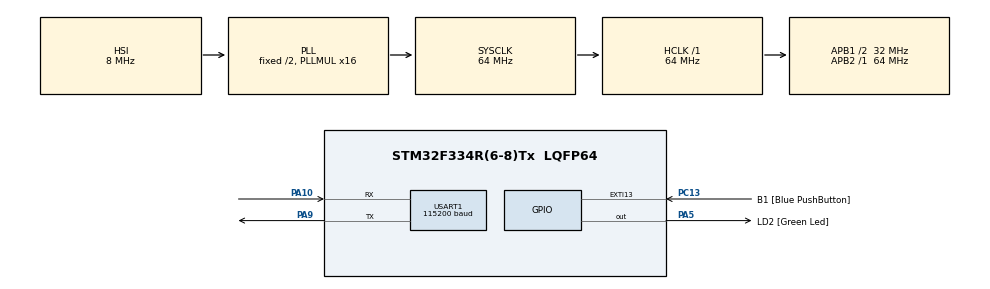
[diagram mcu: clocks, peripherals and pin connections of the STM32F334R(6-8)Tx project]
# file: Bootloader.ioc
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Mcu.Family=STM32F3
Mcu.Name=STM32F334R(6-8)Tx
Mcu.Package=LQFP64
NVIC.PriorityGroup=NVIC_PRIORITYGROUP_0
PA10.Mode=Asynchronous
PA10.Signal=USART1_RX
PA13.GPIO_Label=TMS
PA13.Mode=Serial_Wire
PA13.Signal=SYS_JTMS-SWDIO
PA14.GPIO_Label=TCK
PA14.Mode=Serial_Wire
PA14.Signal=SYS_JTCK-SWCLK
PA5.GPIO_Label=LD2 [Green Led]
PA5.Signal=GPIO_Output
PA9.Mode=Asynchronous
PA9.Signal=USART1_TX
PB3.GPIO_Label=SWO
PB3.Signal=SYS_JTDO-TRACESWO
PC13.GPIO_Label=B1 [Blue PushButton]
PC13.GPIO_ModeDefaultEXTI=GPIO_MODE_IT_FALLING
PC13.Signal=GPXTI13
PC14\ /\ OSC32_IN.Mode=LSE-External-Oscillator
PC14\ /\ OSC32_IN.Signal=RCC_OSC32_IN
PC15\ /\ OSC32_OUT.GPIO_Label=RCC_OSC32_OUT
PC15\ /\ OSC32_OUT.Mode=LSE-External-Oscillator
PC15\ /\ OSC32_OUT.Signal=RCC_OSC32_OUT
PF0\ /\ OSC_IN.Mode=HSE-External-Clock-Source
PF0\ /\ OSC_IN.Signal=RCC_OSC_IN
PF1\ /\ OSC_OUT.Signal=RCC_OSC_OUT
ProjectManager.HeapSize=0x200
ProjectManager.StackSize=0x400
ProjectManager.TargetToolchain=STM32CubeIDE
RCC.AHBFreq_Value=64000000
RCC.APB1CLKDivider=RCC_HCLK_DIV2
RCC.APB1Freq_Value=32000000
RCC.APB1TimFreq_Value=64000000
RCC.APB2Freq_Value=64000000
RCC.APB2TimFreq_Value=64000000
RCC.CortexFreq_Value=64000000
RCC.FLatency-AdvancedSettings=FLASH_LATENCY_2
RCC.HCLKFreq_Value=64000000
RCC.HSE_VALUE=8000000
RCC.HSI_VALUE=8000000
RCC.PLLMUL=RCC_PLL_MUL16
RCC.SYSCLKFreq_VALUE=64000000
RCC.SYSCLKSourceVirtual=RCC_SYSCLKSOURCE_PLLCLK
USART1.BaudRate=115200
USART1.VirtualMode-Asynchronous=VM_ASYNC
board=NUCLEO-F334R8

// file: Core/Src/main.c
/* USER CODE BEGIN Header */
/**
  ******************************************************************************
  * @file           : main.c
  * @brief          : Main program body
  ******************************************************************************
  * @attention
  *
  * Copyright (c) 2024 STMicroelectronics.
  * All rights reserved.
  *
  * This software is licensed under terms that can be found in the LICENSE file
  * in the root directory of this software component.
  * If no LICENSE file comes with this software, it is provided AS-IS.
  *
  ******************************************************************************
  */
/* USER CODE END Header */
#include "main.h"
#include "usart.h"
#include "gpio.h"

/* USER CODE BEGIN Includes */
#include <stdio.h>
#include <string.h>
/* USER CODE END Includes */

/* USER CODE BEGIN PM */
#define MAJOR 1
#define MINOR 0
/* USER CODE END PM */

/* USER CODE BEGIN PV */
uint8_t BL_Version[2] = { MAJOR, MINOR };
/* USER CODE END PV */

void SystemClock_Config(void);
/* USER CODE BEGIN PFP */
static void goto_application( void );
/* USER CODE END PFP */

int main(void)
{

  /* MCU Configuration--------------------------------------------------------*/

  /* Reset of all peripherals, Initializes the Flash interface and the Systick. */
  HAL_Init();

  /* Configure the system clock */
  SystemClock_Config();

  /* Initialize all configured peripherals */
  MX_GPIO_Init();
  MX_USART1_UART_Init();
  /* USER CODE BEGIN 2 */
  printf("Bootloader started...\nVersion: %d.%d\n",BL_Version[MAJOR], BL_Version[MINOR]);
  /* USER CODE END 2 */

  /* Infinite loop */
  while (1)
  {

    /* USER CODE BEGIN 3 */
	  for(unsigned char i = 0; i<=20; i++ ){
		  HAL_GPIO_TogglePin(LD2_GPIO_Port, LD2_Pin);
		  HAL_Delay(100);
	  }
	  goto_application();

  }
  /* USER CODE END 3 */
}

void SystemClock_Config(void)
{
  RCC_OscInitTypeDef RCC_OscInitStruct = {0};
  RCC_ClkInitTypeDef RCC_ClkInitStruct = {0};
  RCC_PeriphCLKInitTypeDef PeriphClkInit = {0};

  /** Initializes the RCC Oscillators according to the specified parameters
  * in the RCC_OscInitTypeDef structure.
  */
  RCC_OscInitStruct.OscillatorType = RCC_OSCILLATORTYPE_HSI;
  RCC_OscInitStruct.HSIState = RCC_HSI_ON;
  RCC_OscInitStruct.HSICalibrationValue = RCC_HSICALIBRATION_DEFAULT;
  RCC_OscInitStruct.PLL.PLLState = RCC_PLL_ON;
  RCC_OscInitStruct.PLL.PLLSource = RCC_PLLSOURCE_HSI;
  RCC_OscInitStruct.PLL.PLLMUL = RCC_PLL_MUL16;
  if (HAL_RCC_OscConfig(&RCC_OscInitStruct) != HAL_OK)
  {
    Error_Handler();
  }

  /** Initializes the CPU, AHB and APB buses clocks
  */
  RCC_ClkInitStruct.ClockType = RCC_CLOCKTYPE_HCLK|RCC_CLOCKTYPE_SYSCLK
                              |RCC_CLOCKTYPE_PCLK1|RCC_CLOCKTYPE_PCLK2;
  RCC_ClkInitStruct.SYSCLKSource = RCC_SYSCLKSOURCE_PLLCLK;
  RCC_ClkInitStruct.AHBCLKDivider = RCC_SYSCLK_DIV1;
  RCC_ClkInitStruct.APB1CLKDivider = RCC_HCLK_DIV2;
  RCC_ClkInitStruct.APB2CLKDivider = RCC_HCLK_DIV1;

  if (HAL_RCC_ClockConfig(&RCC_ClkInitStruct, FLASH_LATENCY_2) != HAL_OK)
  {
    Error_Handler();
  }
  PeriphClkInit.PeriphClockSelection = RCC_PERIPHCLK_USART1;
  PeriphClkInit.Usart1ClockSelection = RCC_USART1CLKSOURCE_PCLK1;
  if (HAL_RCCEx_PeriphCLKConfig(&PeriphClkInit) != HAL_OK)
  {
    Error_Handler();
  }
}

/* USER CODE BEGIN 4 */
#ifdef __GNUC__
  /* With GCC, small printf (option LD Linker->Libraries->Small printf
     set to 'Yes') calls __io_putchar() */
int __io_putchar(int ch)
#else
int fputc(int ch, FILE *f)
#endif /* __GNUC__ */
{
  /* Place your implementation of fputc here */
  /* e.g. write a character to the UART3 and Loop until the end of transmission */
  HAL_UART_Transmit(&huart1, (uint8_t *)&ch, 1, HAL_MAX_DELAY);
  return ch;
}

static void goto_application( void )
{
  printf("Going to Jump to Application...\n");
  void (*app_reset_handler)(void) = (void*)(*((volatile uint32_t*)(0x08004400 + 4U)));
  app_reset_handler();
}
/* USER CODE END 4 */

void Error_Handler(void)
{
  __disable_irq();
  while (1)
  {
  }
}
